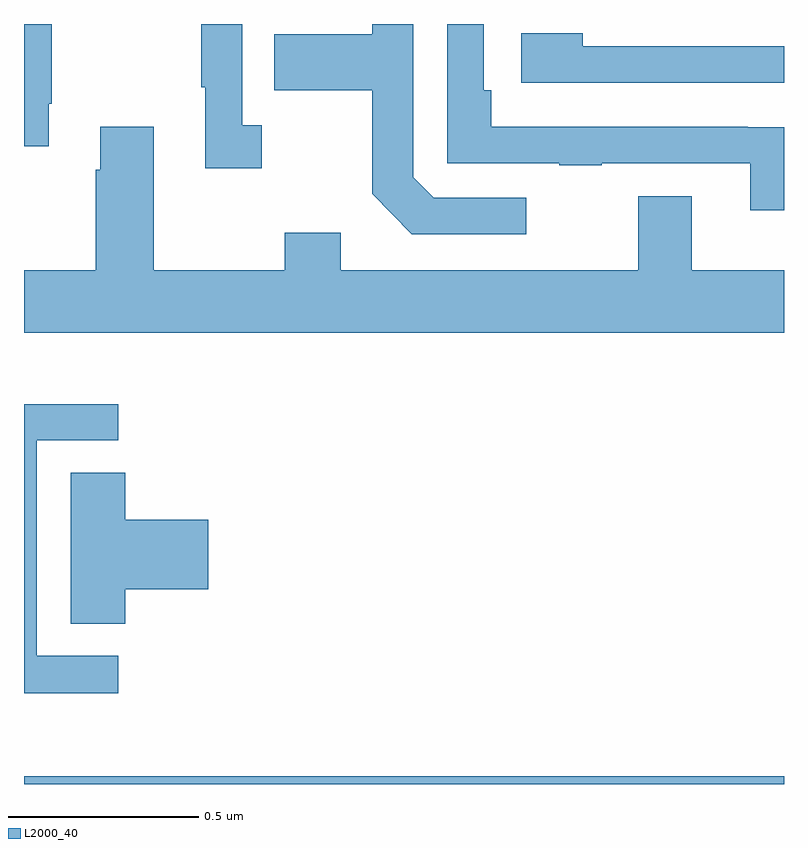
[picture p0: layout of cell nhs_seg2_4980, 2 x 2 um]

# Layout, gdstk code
import gdstk
lib = gdstk.Library(unit=1e-6, precision=1e-09)
def R(c, l, rs):  # rectangles x0, y0, x1, y1
    for r in rs: c.add(gdstk.rectangle(r[:2], r[2:], *l))
def P(c, l, *ps):  # polygons
    for p in ps: c.add(gdstk.Polygon(p, *l))
L2000_40 = (2000, 40)

nhs_seg2_4980 = lib.new_cell('nhs_seg2_4980')
R(nhs_seg2_4980, L2000_40, [(173,627.8,175,627.82)])
P(nhs_seg2_4980, L2000_40, [(173.065,629.59),(173.073,629.59),(173.073,629.8),(173,629.8),(173,629.478),(173.065,629.478)],
  [(175,629.528),(174.905,629.528),(174.905,629.529),(174.23,629.529),(174.23,629.626),(174.21,629.626),(174.21,629.8),(174.114,629.8),(174.114,629.433),(174.409,629.433),(174.409,629.428),(174.521,629.428),(174.521,629.433),(174.911,629.433),(174.911,629.31),(175,629.31)],
  [(173.626,629.534),(173.574,629.534),(173.574,629.8),(173.466,629.8),(173.466,629.633),(173.477,629.633),(173.477,629.421),(173.626,629.421)],
  [(174.322,629.343),(174.078,629.343),(174.024,629.397),(174.024,629.8),(173.916,629.8),(173.916,629.773),(173.659,629.773),(173.659,629.626),(173.916,629.626),(173.916,629.353),(174.021,629.247),(174.322,629.247)],
  [(175,629.742),(174.47,629.742),(174.47,629.776),(174.309,629.776),(174.309,629.646),(175,629.646)],
  [(175,629.152),(174.757,629.152),(174.757,629.347),(174.617,629.347),(174.617,629.152),(173.833,629.152),(173.833,629.251),(173.686,629.251),(173.686,629.152),(173.341,629.152),(173.341,629.53),(173.201,629.53),(173.201,629.417),(173.189,629.417),(173.189,629.152),(173,629.152),(173,628.988),(175,628.988)],
  [(173.248,628.137),(173.034,628.137),(173.034,628.704),(173.248,628.704),(173.248,628.8),(173,628.8),(173,628.039),(173.248,628.039)],
  [(173.267,628.313),(173.485,628.313),(173.485,628.496),(173.267,628.496),(173.267,628.619),(173.123,628.619),(173.123,628.222),(173.267,628.222)])

lib.write_gds('nhs_seg2_4980.gds')
